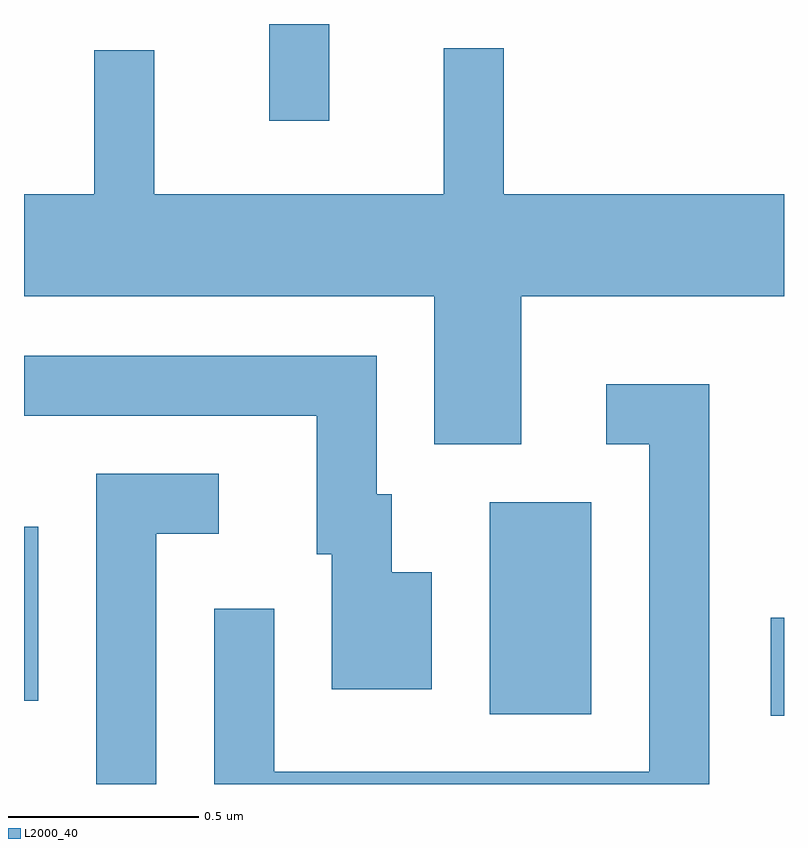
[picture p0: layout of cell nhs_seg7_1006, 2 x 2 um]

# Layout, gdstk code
import gdstk
lib = gdstk.Library(unit=1e-6, precision=1e-09)
def R(c, l, rs):  # rectangles x0, y0, x1, y1
    for r in rs: c.add(gdstk.rectangle(r[:2], r[2:], *l))
def P(c, l, *ps):  # polygons
    for p in ps: c.add(gdstk.Polygon(p, *l))
L2000_40 = (2000, 40)

nhs_seg7_1006 = lib.new_cell('nhs_seg7_1006')
R(nhs_seg7_1006, L2000_40, [(194.576,1715.431,194.611,1715.689), (193.836,1715.436,194.104,1715.994), (192.611,1715.471,192.649,1715.929), (193.256,1716.998,193.414,1717.252)])
P(nhs_seg7_1006, L2000_40, [(193.919,1716.536),(194.611,1716.536),(194.611,1716.804),(193.874,1716.804),(193.874,1717.188),(193.716,1717.188),(193.716,1716.804),(192.954,1716.804),(192.954,1717.183),(192.796,1717.183),(192.796,1716.804),(192.611,1716.804),(192.611,1716.536),(193.691,1716.536),(193.691,1716.146),(193.919,1716.146)],
  [(193.684,1715.809),(193.579,1715.809),(193.579,1716.014),(193.539,1716.014),(193.539,1716.379),(192.611,1716.379),(192.611,1716.221),(193.381,1716.221),(193.381,1715.856),(193.421,1715.856),(193.421,1715.501),(193.684,1715.501)],
  [(194.414,1716.304),(194.143,1716.304),(194.143,1716.146),(194.256,1716.146),(194.256,1715.284),(193.269,1715.284),(193.269,1715.713),(193.111,1715.713),(193.111,1715.252),(194.414,1715.252)],
  [(192.959,1715.911),(193.123,1715.911),(193.123,1716.069),(192.801,1716.069),(192.801,1715.252),(192.959,1715.252)])

lib.write_gds('nhs_seg7_1006.gds')
